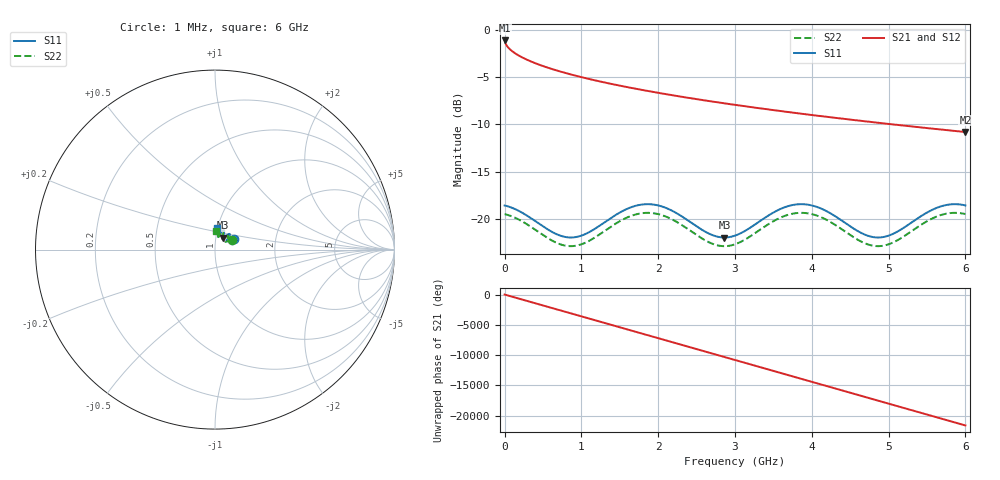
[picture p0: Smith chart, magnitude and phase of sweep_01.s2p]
! 2-port S-parameters written by miniscope-char acquisition
! instrument: SimulatedVNA
! simulated: true
# HZ S RI R 50
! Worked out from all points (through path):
!   1001 points, 1 MHz to 6 GHz, reference 50 ohm
!   highest |S21| = -1.13 dB at 1 MHz (marker M1); lowest = -10.8 dB at 6 GHz (marker M2)
!   group delay of S21, straight-line fit = 10 ns
!   lowest |S11| = -21.9 dB at 2.863 GHz (marker M3), VSWR 1.17, Z = 54.2 + j7.23 ohm
!   |S11| at or under -10 dB: start of sweep to end of sweep
!   |S22| runs from -22.9 to -19.3 dB; largest |S21 - S12| = 0
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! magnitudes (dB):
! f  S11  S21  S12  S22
! 1 MHz  -18.6  -1.1  -1.1  -19.5
! 78.99 MHz  -18.7  -2.1  -2.1  -19.7
! 217 MHz  -19.3  -2.9  -2.9  -20.2
! 702.9 MHz  -21.7  -4.4  -4.4  -22.6
! 1.003 GHz  -21.7  -5.0  -5.0  -22.6
! 1.633 GHz  -18.8  -6.1  -6.1  -19.7
! 1.819 GHz  -18.4  -6.4  -6.4  -19.3
! 2.005 GHz  -18.6  -6.7  -6.7  -19.5
! 2.221 GHz  -19.3  -7.0  -7.0  -20.2
! 2.653 GHz  -21.5  -7.5  -7.5  -22.4
! 2.863 GHz  -21.9  -7.8  -7.8  -22.9
! 3.001 GHz  -21.7  -7.9  -7.9  -22.7
! 3.63 GHz  -18.8  -8.6  -8.6  -19.7
! 3.816 GHz  -18.4  -8.8  -8.8  -19.3
! 4.002 GHz  -18.6  -9.0  -9.0  -19.5
! 4.212 GHz  -19.2  -9.2  -9.2  -20.2
! 4.704 GHz  -21.7  -9.7  -9.7  -22.6
! 4.854 GHz  -21.9  -9.8  -9.8  -22.9
! 5.004 GHz  -21.7  -9.9  -9.9  -22.6
! 5.628 GHz  -18.8  -10.5  -10.5  -19.7
! 5.814 GHz  -18.4  -10.6  -10.6  -19.3
! 6 GHz  -18.5  -10.8  -10.8  -19.5
